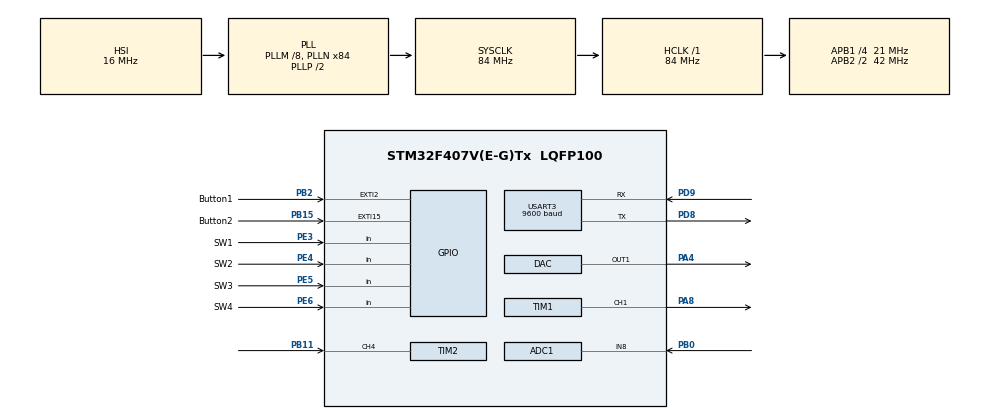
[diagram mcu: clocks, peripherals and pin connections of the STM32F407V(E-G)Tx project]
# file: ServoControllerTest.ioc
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ADC1.Channel-1\#ChannelRegularConversion=ADC_CHANNEL_8
ADC1.NbrOfConversionFlag=1
ADC1.Rank-1\#ChannelRegularConversion=1
ADC1.SamplingTime-1\#ChannelRegularConversion=ADC_SAMPLETIME_3CYCLES
ADC1.master=1
Mcu.Family=STM32F4
Mcu.Name=STM32F407V(E-G)Tx
Mcu.Package=LQFP100
NVIC.EXTI15_10_IRQn=true\:0\:0\:false\:false\:true\:true\:true
NVIC.EXTI2_IRQn=true\:0\:0\:false\:false\:true\:true\:true
NVIC.PriorityGroup=NVIC_PRIORITYGROUP_4
NVIC.TIM2_IRQn=true\:0\:0\:false\:false\:true\:true\:true
NVIC.USART3_IRQn=true\:0\:0\:false\:false\:true\:true\:true
PA4.Signal=COMP_DAC1_group
PA8.Signal=S_TIM1_CH1
PB0.Signal=ADCx_IN8
PB11.Signal=S_TIM2_CH4
PB15.GPIO_Label=Button2
PB15.Signal=GPXTI15
PB2.GPIO_Label=Button1
PB2.Signal=GPXTI2
PD8.Mode=Asynchronous
PD8.Signal=USART3_TX
PD9.Mode=Asynchronous
PD9.Signal=USART3_RX
PE3.GPIO_Label=SW1
PE3.Signal=GPIO_Input
PE4.GPIO_Label=SW2
PE4.Signal=GPIO_Input
PE5.GPIO_Label=SW3
PE5.Signal=GPIO_Input
PE6.GPIO_Label=SW4
PE6.Signal=GPIO_Input
ProjectManager.HeapSize=0x200
ProjectManager.StackSize=0x400
ProjectManager.TargetToolchain=MDK-ARM V5
RCC.48MHZClocksFreq_Value=42000000
RCC.AHBFreq_Value=84000000
RCC.APB1CLKDivider=RCC_HCLK_DIV4
RCC.APB1Freq_Value=21000000
RCC.APB1TimFreq_Value=42000000
RCC.APB2CLKDivider=RCC_HCLK_DIV2
RCC.APB2Freq_Value=42000000
RCC.APB2TimFreq_Value=84000000
RCC.CortexFreq_Value=84000000
RCC.HCLKFreq_Value=84000000
RCC.HSE_VALUE=25000000
RCC.HSI_VALUE=16000000
RCC.LSE_VALUE=32768
RCC.PLLM=8
RCC.PLLN=84
RCC.SYSCLKFreq_VALUE=84000000
RCC.SYSCLKSource=RCC_SYSCLKSOURCE_PLLCLK
RCC.VCOOutputFreq_Value=168000000
SH.ADCx_IN8.0=ADC1_IN8,IN8
SH.COMP_DAC1_group.0=DAC_OUT1,DAC_OUT1
SH.S_TIM1_CH1.0=TIM1_CH1,PWM Generation1 CH1
SH.S_TIM2_CH4.0=TIM2_CH4,Input_Capture4_from_TI4
TIM1.Channel-PWM\ Generation1\ CH1=TIM_CHANNEL_1
TIM1.Period=999
TIM1.Prescaler=84
TIM1.Pulse-PWM\ Generation1\ CH1=0
TIM2.AutoReloadPreload=TIM_AUTORELOAD_PRELOAD_ENABLE
TIM2.Channel-Input_Capture4_from_TI4=TIM_CHANNEL_4
TIM2.ICPolarity_CH4=TIM_INPUTCHANNELPOLARITY_RISING
TIM2.Period=65535
TIM2.Prescaler=42
USART3.BaudRate=9600
USART3.VirtualMode=VM_ASYNC
VP_TIM1_VS_ClockSourceINT.Mode=Internal
board=custom

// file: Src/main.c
/* USER CODE BEGIN Header */
/**
  ******************************************************************************
  * @file           : main.c
  * @brief          : Main program body
  ******************************************************************************
  * @attention
  *
  * <h2><center>&copy; Copyright (c) 2019 STMicroelectronics.
  * All rights reserved.</center></h2>
  *
  * This software component is licensed by ST under BSD 3-Clause license,
  * the "License"; You may not use this file except in compliance with the
  * License. You may obtain a copy of the License at:
  *                        opensource.org/licenses/BSD-3-Clause
  *
  ******************************************************************************
  */
/* USER CODE END Header */

#include "main.h"

/* USER CODE BEGIN Includes */
#include <stdio.h>
#include <string.h>
#include "bsp.h"
/* USER CODE END Includes */

/* USER CODE BEGIN PM */
uint16_t Value;
int Button1 = 0;
int Button2 = 0;
int period = 0;
int V;
char txt1[] ="Hello,World";
static char Buffer[20];
/* USER CODE END PM */

ADC_HandleTypeDef hadc1;

DAC_HandleTypeDef hdac;

TIM_HandleTypeDef htim1;
TIM_HandleTypeDef htim2;

UART_HandleTypeDef huart3;

void SystemClock_Config(void);
static void MX_GPIO_Init(void);
static void MX_TIM1_Init(void);
static void MX_TIM2_Init(void);
static void MX_ADC1_Init(void);
static void MX_DAC_Init(void);
static void MX_USART3_UART_Init(void);

/* USER CODE BEGIN 0 */
int fputc(int ch, FILE *f)
{
  return ITM_SendChar(ch);
}

int Enable1(){
		static int EV1 = 0;
	if(Button1){
			EV1 = !EV1;
			Button1 = 0;
	}
	return EV1;
}

int Enable2(){
		static int EV2 = 0;
	if(Button2){
			EV2 = !EV2;
			Button2 = 0;
	}
	return EV2;
}

void PDM(){

	if(SW1()== SET){
		period = 1999; //2000 us = 500Hz
	}else {
		period = 0;
	}
    __HAL_TIM_SET_AUTORELOAD(&htim1, period);
}

void CPW(){
	if(SW2() == SET){
		__HAL_TIM_SET_COMPARE(&htim1, TIM_CHANNEL_1, period/4);
		printf("Value: %d\n", Value);
		Value = 0;
	 }else{
		printf("PLEASE TURN ON SW2 FOR READ PERIOD\n");
	 }
}
void GV(){
	if(SW3() == SET){
		V = 1861;
	}else{
		V = 0;
	}

    HAL_DAC_SetValue(&hdac, DAC_CHANNEL_1, DAC_ALIGN_12B_R, V);
    HAL_DAC_Start(&hdac, DAC_CHANNEL_1);
}

void RV(){

	 if(SW4() == SET){
		HAL_ADC_Start(&hadc1);
    while(HAL_ADC_PollForConversion(&hadc1, 1000));
    uint16_t analogVal = HAL_ADC_GetValue(&hadc1);
		printf("Analog value: %d\n", analogVal);
	}else{
		printf("PLEASE TURN ON SW4 FOR READ VOLTAGE\n");
	}
}

void SUART(int EV1){

  if(EV1 == 1){
		HAL_UART_Transmit_IT(&huart3, txt1, strlen(txt1));
		//
		HAL_UART_Receive_IT(&huart3, Buffer, strlen(txt1));
	}else{
		printf("PLEASE PUSH BUTTON FOR TRANSMIT UART\n");
	}
}
void RUART(int EV2){

		//printf("Text: %s, %s\n", txt1, Buffer);
		if(EV2==1){
		//	HAL_UART_Receive_IT(&huart3, Buffer, strlen(txt1));
			printf("Text: %s, %s\n", txt1, Buffer);
			printf("Number of received characters : %d\n", strlen(Buffer));
		}else{
		printf("PLEASE PUSH BUTTON FOR RECEIVE UART\n");
		}

}

/* USER CODE END 0 */

int main(void)
{
  /* USER CODE BEGIN 1 */
uint16_t period = 0;
  /* USER CODE END 1 */

  /* MCU Configuration--------------------------------------------------------*/

  /* Reset of all peripherals, Initializes the Flash interface and the Systick. */
  HAL_Init();

  /* Configure the system clock */
  SystemClock_Config();

  /* Initialize all configured peripherals */
  MX_GPIO_Init();
  MX_TIM1_Init();
  MX_TIM2_Init();
  MX_ADC1_Init();
  MX_DAC_Init();
  MX_USART3_UART_Init();
  /* USER CODE BEGIN 2 */
  HAL_TIM_Base_Start(&htim1);   //
  HAL_TIM_PWM_Start(&htim1,TIM_CHANNEL_1);
  HAL_TIM_Base_Start(&htim2);
  HAL_TIM_IC_Start_IT(&htim2, TIM_CHANNEL_4);  //START INTERRUPT
  /* USER CODE END 2 */

  /* Infinite loop */
  while (1)
  {

    /* USER CODE BEGIN 3 */

	 PDM();
	 CPW();
	 GV();
	 RV();
	 int EV1 = Enable1();
	 int EV2 = Enable2();
	 SUART(EV1);
	 RUART(EV2);

	printf("--------------------------------------------------\n");
	HAL_Delay(2000);

	}
  /* USER CODE END 3 */
}

void SystemClock_Config(void)
{
  RCC_OscInitTypeDef RCC_OscInitStruct = {0};
  RCC_ClkInitTypeDef RCC_ClkInitStruct = {0};

  /** Configure the main internal regulator output voltage
  */
  __HAL_RCC_PWR_CLK_ENABLE();
  __HAL_PWR_VOLTAGESCALING_CONFIG(PWR_REGULATOR_VOLTAGE_SCALE1);
  /** Initializes the CPU, AHB and APB busses clocks
  */
  RCC_OscInitStruct.OscillatorType = RCC_OSCILLATORTYPE_HSI;
  RCC_OscInitStruct.HSIState = RCC_HSI_ON;
  RCC_OscInitStruct.HSICalibrationValue = RCC_HSICALIBRATION_DEFAULT;
  RCC_OscInitStruct.PLL.PLLState = RCC_PLL_ON;
  RCC_OscInitStruct.PLL.PLLSource = RCC_PLLSOURCE_HSI;
  RCC_OscInitStruct.PLL.PLLM = 8;
  RCC_OscInitStruct.PLL.PLLN = 84;
  RCC_OscInitStruct.PLL.PLLP = RCC_PLLP_DIV2;
  RCC_OscInitStruct.PLL.PLLQ = 4;
  if (HAL_RCC_OscConfig(&RCC_OscInitStruct) != HAL_OK)
  {
    Error_Handler();
  }
  /** Initializes the CPU, AHB and APB busses clocks
  */
  RCC_ClkInitStruct.ClockType = RCC_CLOCKTYPE_HCLK|RCC_CLOCKTYPE_SYSCLK
                              |RCC_CLOCKTYPE_PCLK1|RCC_CLOCKTYPE_PCLK2;
  RCC_ClkInitStruct.SYSCLKSource = RCC_SYSCLKSOURCE_PLLCLK;
  RCC_ClkInitStruct.AHBCLKDivider = RCC_SYSCLK_DIV1;
  RCC_ClkInitStruct.APB1CLKDivider = RCC_HCLK_DIV4;
  RCC_ClkInitStruct.APB2CLKDivider = RCC_HCLK_DIV2;

  if (HAL_RCC_ClockConfig(&RCC_ClkInitStruct, FLASH_LATENCY_2) != HAL_OK)
  {
    Error_Handler();
  }
}

static void MX_ADC1_Init(void)
{

  ADC_ChannelConfTypeDef sConfig = {0};

  /** Configure the global features of the ADC (Clock, Resolution, Data Alignment and number of conversion)
  */
  hadc1.Instance = ADC1;
  hadc1.Init.ClockPrescaler = ADC_CLOCK_SYNC_PCLK_DIV2;
  hadc1.Init.Resolution = ADC_RESOLUTION_12B;
  hadc1.Init.ScanConvMode = DISABLE;
  hadc1.Init.ContinuousConvMode = DISABLE;
  hadc1.Init.DiscontinuousConvMode = DISABLE;
  hadc1.Init.ExternalTrigConvEdge = ADC_EXTERNALTRIGCONVEDGE_NONE;
  hadc1.Init.ExternalTrigConv = ADC_SOFTWARE_START;
  hadc1.Init.DataAlign = ADC_DATAALIGN_RIGHT;
  hadc1.Init.NbrOfConversion = 1;
  hadc1.Init.DMAContinuousRequests = DISABLE;
  hadc1.Init.EOCSelection = ADC_EOC_SINGLE_CONV;
  if (HAL_ADC_Init(&hadc1) != HAL_OK)
  {
    Error_Handler();
  }
  /** Configure for the selected ADC regular channel its corresponding rank in the sequencer and its sample time.
  */
  sConfig.Channel = ADC_CHANNEL_8;
  sConfig.Rank = 1;
  sConfig.SamplingTime = ADC_SAMPLETIME_3CYCLES;
  if (HAL_ADC_ConfigChannel(&hadc1, &sConfig) != HAL_OK)
  {
    Error_Handler();
  }

}

static void MX_DAC_Init(void)
{

  DAC_ChannelConfTypeDef sConfig = {0};

  /** DAC Initialization
  */
  hdac.Instance = DAC;
  if (HAL_DAC_Init(&hdac) != HAL_OK)
  {
    Error_Handler();
  }
  /** DAC channel OUT1 config
  */
  sConfig.DAC_Trigger = DAC_TRIGGER_NONE;
  sConfig.DAC_OutputBuffer = DAC_OUTPUTBUFFER_ENABLE;
  if (HAL_DAC_ConfigChannel(&hdac, &sConfig, DAC_CHANNEL_1) != HAL_OK)
  {
    Error_Handler();
  }

}

static void MX_TIM1_Init(void)
{

  TIM_ClockConfigTypeDef sClockSourceConfig = {0};
  TIM_MasterConfigTypeDef sMasterConfig = {0};
  TIM_OC_InitTypeDef sConfigOC = {0};
  TIM_BreakDeadTimeConfigTypeDef sBreakDeadTimeConfig = {0};

  htim1.Instance = TIM1;
  htim1.Init.Prescaler = 84;
  htim1.Init.CounterMode = TIM_COUNTERMODE_UP;
  htim1.Init.Period = 999;
  htim1.Init.ClockDivision = TIM_CLOCKDIVISION_DIV1;
  htim1.Init.RepetitionCounter = 0;
  htim1.Init.AutoReloadPreload = TIM_AUTORELOAD_PRELOAD_DISABLE;
  if (HAL_TIM_Base_Init(&htim1) != HAL_OK)
  {
    Error_Handler();
  }
  sClockSourceConfig.ClockSource = TIM_CLOCKSOURCE_INTERNAL;
  if (HAL_TIM_ConfigClockSource(&htim1, &sClockSourceConfig) != HAL_OK)
  {
    Error_Handler();
  }
  if (HAL_TIM_PWM_Init(&htim1) != HAL_OK)
  {
    Error_Handler();
  }
  sMasterConfig.MasterOutputTrigger = TIM_TRGO_RESET;
  sMasterConfig.MasterSlaveMode = TIM_MASTERSLAVEMODE_DISABLE;
  if (HAL_TIMEx_MasterConfigSynchronization(&htim1, &sMasterConfig) != HAL_OK)
  {
    Error_Handler();
  }
  sConfigOC.OCMode = TIM_OCMODE_PWM1;
  sConfigOC.Pulse = 0;
  sConfigOC.OCPolarity = TIM_OCPOLARITY_HIGH;
  sConfigOC.OCNPolarity = TIM_OCNPOLARITY_HIGH;
  sConfigOC.OCFastMode = TIM_OCFAST_DISABLE;
  sConfigOC.OCIdleState = TIM_OCIDLESTATE_RESET;
  sConfigOC.OCNIdleState = TIM_OCNIDLESTATE_RESET;
  if (HAL_TIM_PWM_ConfigChannel(&htim1, &sConfigOC, TIM_CHANNEL_1) != HAL_OK)
  {
    Error_Handler();
  }
  sBreakDeadTimeConfig.OffStateRunMode = TIM_OSSR_DISABLE;
  sBreakDeadTimeConfig.OffStateIDLEMode = TIM_OSSI_DISABLE;
  sBreakDeadTimeConfig.LockLevel = TIM_LOCKLEVEL_OFF;
  sBreakDeadTimeConfig.DeadTime = 0;
  sBreakDeadTimeConfig.BreakState = TIM_BREAK_DISABLE;
  sBreakDeadTimeConfig.BreakPolarity = TIM_BREAKPOLARITY_HIGH;
  sBreakDeadTimeConfig.AutomaticOutput = TIM_AUTOMATICOUTPUT_DISABLE;
  if (HAL_TIMEx_ConfigBreakDeadTime(&htim1, &sBreakDeadTimeConfig) != HAL_OK)
  {
    Error_Handler();
  }
  HAL_TIM_MspPostInit(&htim1);

}

static void MX_TIM2_Init(void)
{

  TIM_MasterConfigTypeDef sMasterConfig = {0};
  TIM_IC_InitTypeDef sConfigIC = {0};

  htim2.Instance = TIM2;
  htim2.Init.Prescaler = 42;
  htim2.Init.CounterMode = TIM_COUNTERMODE_UP;
  htim2.Init.Period = 65535;
  htim2.Init.ClockDivision = TIM_CLOCKDIVISION_DIV1;
  htim2.Init.AutoReloadPreload = TIM_AUTORELOAD_PRELOAD_ENABLE;
  if (HAL_TIM_IC_Init(&htim2) != HAL_OK)
  {
    Error_Handler();
  }
  sMasterConfig.MasterOutputTrigger = TIM_TRGO_RESET;
  sMasterConfig.MasterSlaveMode = TIM_MASTERSLAVEMODE_DISABLE;
  if (HAL_TIMEx_MasterConfigSynchronization(&htim2, &sMasterConfig) != HAL_OK)
  {
    Error_Handler();
  }
  sConfigIC.ICPolarity = TIM_INPUTCHANNELPOLARITY_RISING;
  sConfigIC.ICSelection = TIM_ICSELECTION_DIRECTTI;
  sConfigIC.ICPrescaler = TIM_ICPSC_DIV1;
  sConfigIC.ICFilter = 0;
  if (HAL_TIM_IC_ConfigChannel(&htim2, &sConfigIC, TIM_CHANNEL_4) != HAL_OK)
  {
    Error_Handler();
  }

}

static void MX_USART3_UART_Init(void)
{

  huart3.Instance = USART3;
  huart3.Init.BaudRate = 9600;
  huart3.Init.WordLength = UART_WORDLENGTH_8B;
  huart3.Init.StopBits = UART_STOPBITS_1;
  huart3.Init.Parity = UART_PARITY_NONE;
  huart3.Init.Mode = UART_MODE_TX_RX;
  huart3.Init.HwFlowCtl = UART_HWCONTROL_NONE;
  huart3.Init.OverSampling = UART_OVERSAMPLING_16;
  if (HAL_UART_Init(&huart3) != HAL_OK)
  {
    Error_Handler();
  }

}

static void MX_GPIO_Init(void)
{
  GPIO_InitTypeDef GPIO_InitStruct = {0};

  /* GPIO Ports Clock Enable */
  __HAL_RCC_GPIOE_CLK_ENABLE();
  __HAL_RCC_GPIOA_CLK_ENABLE();
  __HAL_RCC_GPIOB_CLK_ENABLE();
  __HAL_RCC_GPIOD_CLK_ENABLE();

  /*Configure GPIO pins : SW1_Pin SW2_Pin SW3_Pin SW4_Pin */
  GPIO_InitStruct.Pin = SW1_Pin|SW2_Pin|SW3_Pin|SW4_Pin;
  GPIO_InitStruct.Mode = GPIO_MODE_INPUT;
  GPIO_InitStruct.Pull = GPIO_NOPULL;
  HAL_GPIO_Init(GPIOE, &GPIO_InitStruct);

  /*Configure GPIO pins : Button1_Pin Button2_Pin */
  GPIO_InitStruct.Pin = Button1_Pin|Button2_Pin;
  GPIO_InitStruct.Mode = GPIO_MODE_IT_RISING;
  GPIO_InitStruct.Pull = GPIO_NOPULL;
  HAL_GPIO_Init(GPIOB, &GPIO_InitStruct);

  /* EXTI interrupt init*/
  HAL_NVIC_SetPriority(EXTI2_IRQn, 0, 0);
  HAL_NVIC_EnableIRQ(EXTI2_IRQn);

  HAL_NVIC_SetPriority(EXTI15_10_IRQn, 0, 0);
  HAL_NVIC_EnableIRQ(EXTI15_10_IRQn);

}

/* USER CODE BEGIN 4 */
void HAL_TIM_IC_CaptureCallback (TIM_HandleTypeDef *htim)
{
  extern uint16_t Value;
  Value = __HAL_TIM_GetCompare(htim, TIM_CHANNEL_4);
  //Value = HAL_TIM_ReadCapturedValue(htim, TIM_CHANNEL_4);
  __HAL_TIM_SetCounter(htim, 0);
}

void HAL_USART_RxCpltCallback(UART_HandleTypeDef *huart)
{
}
/* USER CODE END 4 */

void Error_Handler(void)
{
}

/************************ (C) COPYRIGHT STMicroelectronics *****END OF FILE****/
